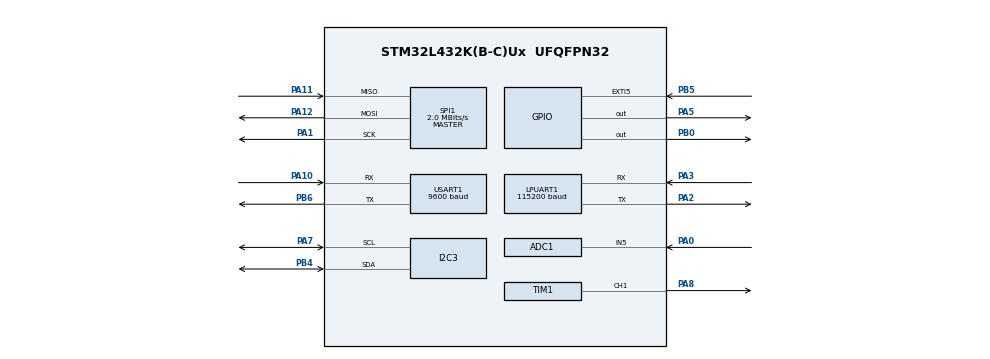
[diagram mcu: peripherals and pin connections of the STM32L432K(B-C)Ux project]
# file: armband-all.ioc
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ADC1.Channel-1\#ChannelRegularConversion=ADC_CHANNEL_5
ADC1.NbrOfConversionFlag=1
ADC1.OffsetNumber-1\#ChannelRegularConversion=ADC_OFFSET_NONE
ADC1.Rank-1\#ChannelRegularConversion=1
ADC1.SamplingTime-1\#ChannelRegularConversion=ADC_SAMPLETIME_2CYCLES_5
ADC1.master=1
LPUART1.BaudRate=115200
LPUART1.WordLength=UART_WORDLENGTH_8B
Mcu.Family=STM32L4
Mcu.Name=STM32L432K(B-C)Ux
Mcu.Package=UFQFPN32
NVIC.EXTI9_5_IRQn=true\:0\:0\:false\:false\:true\:true\:true\:true
NVIC.PriorityGroup=NVIC_PRIORITYGROUP_4
NVIC.TIM6_DAC_IRQn=true\:0\:0\:false\:false\:true\:true\:true\:true
NVIC.TIM7_IRQn=true\:0\:0\:false\:false\:true\:true\:true\:true
PA0.Signal=ADCx_IN5
PA1.Mode=Full_Duplex_Master
PA1.Signal=SPI1_SCK
PA10.Mode=Asynchronous
PA10.Signal=USART1_RX
PA11.Mode=Full_Duplex_Master
PA11.Signal=SPI1_MISO
PA12.Mode=Full_Duplex_Master
PA12.Signal=SPI1_MOSI
PA2.Mode=Asynchronous
PA2.Signal=LPUART1_TX
PA3.Mode=Asynchronous
PA3.Signal=LPUART1_RX
PA5.Signal=GPIO_Output
PA7.Mode=I2C
PA7.Signal=I2C3_SCL
PA8.Signal=S_TIM1_CH1
PB0.PinState=GPIO_PIN_SET
PB0.Signal=GPIO_Output
PB4\ (NJTRST).Mode=I2C
PB4\ (NJTRST).Signal=I2C3_SDA
PB5.Signal=GPXTI5
PB6.Mode=Asynchronous
PB6.Signal=USART1_TX
ProjectManager.HeapSize=0x200
ProjectManager.StackSize=0x400
ProjectManager.TargetToolchain=STM32CubeIDE
RCC.ADCFreq_Value=32000000
RCC.HSE_VALUE=8000000
RCC.HSI48_VALUE=48000000
RCC.HSI_VALUE=16000000
RCC.LSE_VALUE=32768
RCC.MSI_VALUE=4000000
RCC.PLLSAI1N=16
RCC.USBFreq_Value=32000000
RCC.VCOOutputFreq_Value=32000000
SH.ADCx_IN5.0=ADC1_IN5,IN5-Single-Ended
SH.S_TIM1_CH1.0=TIM1_CH1,PWM Generation1 CH1
SPI1.CalculateBaudRate=2.0 MBits/s
SPI1.DataSize=SPI_DATASIZE_8BIT
SPI1.Direction=SPI_DIRECTION_2LINES
SPI1.Mode=SPI_MODE_MASTER
SPI1.VirtualType=VM_MASTER
TIM1.Channel-PWM\ Generation1\ CH1=TIM_CHANNEL_1
TIM6.Period=499
TIM6.Prescaler=399
TIM7.Period=49999
TIM7.Prescaler=399
USART1.BaudRate=9600
USART1.VirtualMode-Asynchronous=VM_ASYNC
VP_TIM6_VS_ClockSourceINT.Mode=Enable_Timer
VP_TIM7_VS_ClockSourceINT.Mode=Enable_Timer
board=custom

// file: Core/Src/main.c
/* USER CODE BEGIN Header */
/**
  ******************************************************************************
  * @file           : main.c
  * @brief          : Main program body
  ******************************************************************************
  * @attention
  *
  * Copyright (c) 2024 STMicroelectronics.
  * All rights reserved.
  *
  * This software is licensed under terms that can be found in the LICENSE file
  * in the root directory of this software component.
  * If no LICENSE file comes with this software, it is provided AS-IS.
  *
  ******************************************************************************
  */

/**	TODO:
 * 	 - only poll gps because it is a time hog
 * 	 - get LoRa running
 */

/* USER CODE END Header */
#include "main.h"

/* USER CODE BEGIN Includes */
#include "gps.h"
#include "lora_sx1276.h"
#include "IMU.h"
#include "PulseSensor.h"
#include "stdio.h"
#include "speed.h"
#include "step_inc/StepCountingAlgo.h"
#include "vec.h"

/* USER CODE END Includes */

/* USER CODE BEGIN PD */
#define ACC_BUF_LEN 1000
#define SPD_BUF_LEN 1000

#define STEP_FREQ 20	// Hz
#define STEP_PERIOD 50	// ms
/* USER CODE END PD */

ADC_HandleTypeDef hadc1;

I2C_HandleTypeDef hi2c3;

UART_HandleTypeDef hlpuart1;
UART_HandleTypeDef huart1;

SPI_HandleTypeDef hspi1;

TIM_HandleTypeDef htim1;
TIM_HandleTypeDef htim6;
TIM_HandleTypeDef htim7;

/* USER CODE BEGIN PV */

uint8_t LoRaRecieve = 0;
lora_sx1276 lora;

//flags
static char gps_flag = 0;
static char vibrate_flag = 0;
static time_t prog_time = 0;

// vars --> most changed to non-static
//static int bpm = 0;
//static float vel;
//static float dist;
//static int steps;
//static double x, y, z;
//static vec_t acc_vec[ACC_BUF_LEN];
//static int acc_vec_idx = 0;
//static vec_t spd_vec[SPD_BUF_LEN];
//static int spd_vec_idx = 0;
static lora_data_t lora_data;

/* USER CODE END PV */

void SystemClock_Config(void);
static void MX_GPIO_Init(void);
static void MX_TIM6_Init(void);
static void MX_USART1_UART_Init(void);
static void MX_ADC1_Init(void);
static void MX_LPUART1_UART_Init(void);
static void MX_SPI1_Init(void);
static void MX_TIM1_Init(void);
static void MX_TIM7_Init(void);
static void MX_I2C3_Init(void);
/* USER CODE BEGIN PFP */
void HAL_TIM_PeriodElapsedCallback(TIM_HandleTypeDef* htim);
void IMUcallback(void);
static inline void vibratorCallback(void);
static inline void loraCallback(void);
//void transmit_data_lora(void);
/* USER CODE END PFP */

/* USER CODE BEGIN 0 */

/* lora initiation helper, executes up to 100 times */
uint8_t lora_infINIT(int init_ctr) {
	if (init_ctr < 100) {
		uint8_t res = lora_init(&lora, &hspi1, GPIOB, GPIO_PIN_0, LORA_BASE_FREQUENCY_US+FREQ_OFFSET);
		if (res != LORA_OK) {
			// Initialization failed
			// retry lol
			return lora_infINIT(init_ctr + 1);
	  	} else {
	  		return LORA_OK;
	  	}
	} else {
		return LORA_ERROR;
	}
}

/* called @ 200Hz, updates step count based on IMU data */
inline void IMUcallback(void) {
	/* archaic step count code from the times of masons own library */
//	vec_t acc_vec, gravity_vec;
//	lin_acc_vec(&hi2c3, &acc_vec.x);
//	grav_vec(&hi2c3, &gravity_vec.x);
//	input_step_data(gravity_vec, acc_vec);

	/* real good super awesome step count code! */
	vec_raw_t acc_vec;
	lin_acc_vec_raw(&hi2c3, &acc_vec.x);
	processSample(prog_time, acc_vec.x, acc_vec.y, acc_vec.z);
	prog_time += STEP_PERIOD;
//	num_steps = getSteps();
//	printf("steps: %i\n\r", num_steps);
}
          //IMU_infINIT(&hi2c3);
void IMU_infINIT(I2C_HandleTypeDef *hi2c) {
	int num_tries = 0;
	while (init_IMU(hi2c)) {
		++num_tries;
		if (num_tries > 100);
	}
}

/* called every 5 seconds, checks lora recieve interrupt flag */
inline void vibratorCallback(void) {
	if (vibrate_flag) { //
		/* turn on vibrator */
		/// possibly add more to create a sequence
	}

}

/* loraCallback(): called after gps is read (5s period) to send relevant data */
inline void loraCallback(void) {

	/* NOTE */
	// possibly send 5 seconds late
	// before next* gps poll in order
	// to send at a precise times
	// --> 5 second delay should not have large effect

	lora_data.speed = get_velocity();	// speed from gps file
	lora_data.distance = get_distance();	// distance from gps file
	lora_data.heart_rate = get_BPM();	// bpm from pulse sensor file
	lora_data.steps = getSteps();	// step count from steps file
	lora_send_packet(&lora, (uint8_t*)&lora_data, sizeof(lora_data));
	lora_mode_receive_single(&lora);

	/* debug code for use without lora */
	printf("sent to Base Station:\n\r");
	printf("\t\tspeed: \t%f m/s\n\r", lora_data.speed);
	printf("\tdistance: \t%f meters\n\r", lora_data.distance);
	printf("\t\tpulse: \t%i bpm\n\r", lora_data.heart_rate);
	printf("\t\tsteps: \t%i steps\n\n\r", lora_data.steps);
}

/* timer checker */
void HAL_TIM_PeriodElapsedCallback(TIM_HandleTypeDef* htim){
	if (htim == &htim6) {
		IMUcallback();
		updatePulseSensor();
	} else if (htim == &htim7) {
		/* timer controlling GPS and LoRa data */
		gps_flag = 1;
		HAL_NVIC_EnableIRQ(USART1_IRQn);
		//vibratorCallback();
	}
}

void HAL_UART_RxCpltCallback(UART_HandleTypeDef *huart)
{

 	//printf("IN CALLBACK\n\r");
 	UpdateGps_IT();
	//HAL_UART_Receive_IT(&huart1, &rx_data, 1);

}

/* USER CODE END 0 */

int main(void)
{

  /* MCU Configuration--------------------------------------------------------*/

  /* Reset of all peripherals, Initializes the Flash interface and the Systick. */
  HAL_Init();

  /* Configure the system clock */
  SystemClock_Config();

  /* Initialize all configured peripherals */
  MX_GPIO_Init();
  MX_TIM6_Init();
  MX_USART1_UART_Init();
  MX_ADC1_Init();
  MX_LPUART1_UART_Init();
  MX_SPI1_Init();
  MX_TIM1_Init();
  MX_TIM7_Init();
  MX_I2C3_Init();
  /* USER CODE BEGIN 2 */
  initPulseSensor(&hadc1);
  IMU_infINIT(&hi2c3);
  uint8_t res = lora_infINIT(0);
  if (res != LORA_OK) {
	  // restart whole system idk
  }
  initAlgo();

  //GPS INIT, just calls HAL_UART_Receive_IT(&huart1, &rx_data, 1) to start
    //GPS_Init();

  // start your engines!
  HAL_TIM_PWM_Start(&htim1, TIM_CHANNEL_1);
  HAL_TIM_Base_Start_IT(&htim6);
  HAL_TIM_Base_Start_IT(&htim7);

  /* USER CODE END 2 */

  /* Infinite loop */
  /* USER CODE BEGIN WHILE */
  uint8_t buzz = 0;
  // Wait at least 5 seconds before clearing buzzer
  uint8_t wait = 1;
  lora_enable_interrupt_rx_done(&lora);
  char buffer[128];
  lora_mode_receive_single(&lora);

  while (1)
  {

	  /* GPS Polling */
	  if (gps_flag) {
		  updateGPS();
		  gps_flag = 0;
		  loraCallback(); // transmit lora data after GPS bottleneck finishes
      if (buzz && !wait) {
		  	TIM1->CCR1 = 0;
        buzz = 0;
        wait = 1;
		  } else if (buzz) {
			  wait = 0;
		  }
    }

    /* poll lora receipt */
    if(LoRaRecieve == 1){
	  		  //Get data
	  //		  	  lora_mode_receive_continuous(&lora);

//	  		  	  lora_receive_packet_blocking(&lora, buffer, sizeof(buffer), 10000, &res);
      if (!lora_is_packet_available(&lora)) {
        LoRaRecieve = 0;
        buzz = 1;
        lora_mode_receive_single(&lora);
      }

	  }

    /* poll buzzer */
	  if (buzz) {
		  TIM1->CCR1 = 65534;
	  }

    /* USER CODE END WHILE */

  }
}

void SystemClock_Config(void)
{
  RCC_OscInitTypeDef RCC_OscInitStruct = {0};
  RCC_ClkInitTypeDef RCC_ClkInitStruct = {0};

  /** Configure the main internal regulator output voltage
  */
  if (HAL_PWREx_ControlVoltageScaling(PWR_REGULATOR_VOLTAGE_SCALE1) != HAL_OK)
  {
    Error_Handler();
  }

  /** Initializes the RCC Oscillators according to the specified parameters
  * in the RCC_OscInitTypeDef structure.
  */
  RCC_OscInitStruct.OscillatorType = RCC_OSCILLATORTYPE_MSI;
  RCC_OscInitStruct.MSIState = RCC_MSI_ON;
  RCC_OscInitStruct.MSICalibrationValue = 0;
  RCC_OscInitStruct.MSIClockRange = RCC_MSIRANGE_6;
  RCC_OscInitStruct.PLL.PLLState = RCC_PLL_NONE;
  if (HAL_RCC_OscConfig(&RCC_OscInitStruct) != HAL_OK)
  {
    Error_Handler();
  }

  /** Initializes the CPU, AHB and APB buses clocks
  */
  RCC_ClkInitStruct.ClockType = RCC_CLOCKTYPE_HCLK|RCC_CLOCKTYPE_SYSCLK
                              |RCC_CLOCKTYPE_PCLK1|RCC_CLOCKTYPE_PCLK2;
  RCC_ClkInitStruct.SYSCLKSource = RCC_SYSCLKSOURCE_MSI;
  RCC_ClkInitStruct.AHBCLKDivider = RCC_SYSCLK_DIV1;
  RCC_ClkInitStruct.APB1CLKDivider = RCC_HCLK_DIV1;
  RCC_ClkInitStruct.APB2CLKDivider = RCC_HCLK_DIV1;

  if (HAL_RCC_ClockConfig(&RCC_ClkInitStruct, FLASH_LATENCY_0) != HAL_OK)
  {
    Error_Handler();
  }
}

static void MX_ADC1_Init(void)
{

  ADC_ChannelConfTypeDef sConfig = {0};

  /** Common config
  */
  hadc1.Instance = ADC1;
  hadc1.Init.ClockPrescaler = ADC_CLOCK_ASYNC_DIV1;
  hadc1.Init.Resolution = ADC_RESOLUTION_12B;
  hadc1.Init.DataAlign = ADC_DATAALIGN_RIGHT;
  hadc1.Init.ScanConvMode = ADC_SCAN_DISABLE;
  hadc1.Init.EOCSelection = ADC_EOC_SINGLE_CONV;
  hadc1.Init.LowPowerAutoWait = DISABLE;
  hadc1.Init.ContinuousConvMode = DISABLE;
  hadc1.Init.NbrOfConversion = 1;
  hadc1.Init.DiscontinuousConvMode = DISABLE;
  hadc1.Init.ExternalTrigConv = ADC_SOFTWARE_START;
  hadc1.Init.ExternalTrigConvEdge = ADC_EXTERNALTRIGCONVEDGE_NONE;
  hadc1.Init.DMAContinuousRequests = DISABLE;
  hadc1.Init.Overrun = ADC_OVR_DATA_PRESERVED;
  hadc1.Init.OversamplingMode = DISABLE;
  if (HAL_ADC_Init(&hadc1) != HAL_OK)
  {
    Error_Handler();
  }

  /** Configure Regular Channel
  */
  sConfig.Channel = ADC_CHANNEL_5;
  sConfig.Rank = ADC_REGULAR_RANK_1;
  sConfig.SamplingTime = ADC_SAMPLETIME_2CYCLES_5;
  sConfig.SingleDiff = ADC_SINGLE_ENDED;
  sConfig.OffsetNumber = ADC_OFFSET_NONE;
  sConfig.Offset = 0;
  if (HAL_ADC_ConfigChannel(&hadc1, &sConfig) != HAL_OK)
  {
    Error_Handler();
  }

}

static void MX_I2C3_Init(void)
{

  hi2c3.Instance = I2C3;
  hi2c3.Init.Timing = 0x00000E14;
  hi2c3.Init.OwnAddress1 = 0;
  hi2c3.Init.AddressingMode = I2C_ADDRESSINGMODE_7BIT;
  hi2c3.Init.DualAddressMode = I2C_DUALADDRESS_DISABLE;
  hi2c3.Init.OwnAddress2 = 0;
  hi2c3.Init.OwnAddress2Masks = I2C_OA2_NOMASK;
  hi2c3.Init.GeneralCallMode = I2C_GENERALCALL_DISABLE;
  hi2c3.Init.NoStretchMode = I2C_NOSTRETCH_DISABLE;
  if (HAL_I2C_Init(&hi2c3) != HAL_OK)
  {
    Error_Handler();
  }

  /** Configure Analogue filter
  */
  if (HAL_I2CEx_ConfigAnalogFilter(&hi2c3, I2C_ANALOGFILTER_ENABLE) != HAL_OK)
  {
    Error_Handler();
  }

  /** Configure Digital filter
  */
  if (HAL_I2CEx_ConfigDigitalFilter(&hi2c3, 0) != HAL_OK)
  {
    Error_Handler();
  }

}

static void MX_LPUART1_UART_Init(void)
{

  hlpuart1.Instance = LPUART1;
  hlpuart1.Init.BaudRate = 115200;
  hlpuart1.Init.WordLength = UART_WORDLENGTH_8B;
  hlpuart1.Init.StopBits = UART_STOPBITS_1;
  hlpuart1.Init.Parity = UART_PARITY_NONE;
  hlpuart1.Init.Mode = UART_MODE_TX_RX;
  hlpuart1.Init.HwFlowCtl = UART_HWCONTROL_NONE;
  hlpuart1.Init.OneBitSampling = UART_ONE_BIT_SAMPLE_DISABLE;
  hlpuart1.AdvancedInit.AdvFeatureInit = UART_ADVFEATURE_NO_INIT;
  if (HAL_UART_Init(&hlpuart1) != HAL_OK)
  {
    Error_Handler();
  }

}

static void MX_USART1_UART_Init(void)
{

  huart1.Instance = USART1;
  huart1.Init.BaudRate = 9600;
  huart1.Init.WordLength = UART_WORDLENGTH_8B;
  huart1.Init.StopBits = UART_STOPBITS_1;
  huart1.Init.Parity = UART_PARITY_NONE;
  huart1.Init.Mode = UART_MODE_TX_RX;
  huart1.Init.HwFlowCtl = UART_HWCONTROL_NONE;
  huart1.Init.OverSampling = UART_OVERSAMPLING_16;
  huart1.Init.OneBitSampling = UART_ONE_BIT_SAMPLE_DISABLE;
  huart1.AdvancedInit.AdvFeatureInit = UART_ADVFEATURE_NO_INIT;
  if (HAL_UART_Init(&huart1) != HAL_OK)
  {
    Error_Handler();
  }

}

static void MX_SPI1_Init(void)
{

  /* SPI1 parameter configuration*/
  hspi1.Instance = SPI1;
  hspi1.Init.Mode = SPI_MODE_MASTER;
  hspi1.Init.Direction = SPI_DIRECTION_2LINES;
  hspi1.Init.DataSize = SPI_DATASIZE_8BIT;
  hspi1.Init.CLKPolarity = SPI_POLARITY_LOW;
  hspi1.Init.CLKPhase = SPI_PHASE_1EDGE;
  hspi1.Init.NSS = SPI_NSS_SOFT;
  hspi1.Init.BaudRatePrescaler = SPI_BAUDRATEPRESCALER_2;
  hspi1.Init.FirstBit = SPI_FIRSTBIT_MSB;
  hspi1.Init.TIMode = SPI_TIMODE_DISABLE;
  hspi1.Init.CRCCalculation = SPI_CRCCALCULATION_DISABLE;
  hspi1.Init.CRCPolynomial = 7;
  hspi1.Init.CRCLength = SPI_CRC_LENGTH_DATASIZE;
  hspi1.Init.NSSPMode = SPI_NSS_PULSE_ENABLE;
  if (HAL_SPI_Init(&hspi1) != HAL_OK)
  {
    Error_Handler();
  }

}

static void MX_TIM1_Init(void)
{

  TIM_MasterConfigTypeDef sMasterConfig = {0};
  TIM_OC_InitTypeDef sConfigOC = {0};
  TIM_BreakDeadTimeConfigTypeDef sBreakDeadTimeConfig = {0};

  htim1.Instance = TIM1;
  htim1.Init.Prescaler = 0;
  htim1.Init.CounterMode = TIM_COUNTERMODE_UP;
  htim1.Init.Period = 65535;
  htim1.Init.ClockDivision = TIM_CLOCKDIVISION_DIV1;
  htim1.Init.RepetitionCounter = 0;
  htim1.Init.AutoReloadPreload = TIM_AUTORELOAD_PRELOAD_DISABLE;
  if (HAL_TIM_PWM_Init(&htim1) != HAL_OK)
  {
    Error_Handler();
  }
  sMasterConfig.MasterOutputTrigger = TIM_TRGO_RESET;
  sMasterConfig.MasterOutputTrigger2 = TIM_TRGO2_RESET;
  sMasterConfig.MasterSlaveMode = TIM_MASTERSLAVEMODE_DISABLE;
  if (HAL_TIMEx_MasterConfigSynchronization(&htim1, &sMasterConfig) != HAL_OK)
  {
    Error_Handler();
  }
  sConfigOC.OCMode = TIM_OCMODE_PWM1;
  sConfigOC.Pulse = 0;
  sConfigOC.OCPolarity = TIM_OCPOLARITY_HIGH;
  sConfigOC.OCNPolarity = TIM_OCNPOLARITY_HIGH;
  sConfigOC.OCFastMode = TIM_OCFAST_DISABLE;
  sConfigOC.OCIdleState = TIM_OCIDLESTATE_RESET;
  sConfigOC.OCNIdleState = TIM_OCNIDLESTATE_RESET;
  if (HAL_TIM_PWM_ConfigChannel(&htim1, &sConfigOC, TIM_CHANNEL_1) != HAL_OK)
  {
    Error_Handler();
  }
  sBreakDeadTimeConfig.OffStateRunMode = TIM_OSSR_DISABLE;
  sBreakDeadTimeConfig.OffStateIDLEMode = TIM_OSSI_DISABLE;
  sBreakDeadTimeConfig.LockLevel = TIM_LOCKLEVEL_OFF;
  sBreakDeadTimeConfig.DeadTime = 0;
  sBreakDeadTimeConfig.BreakState = TIM_BREAK_DISABLE;
  sBreakDeadTimeConfig.BreakPolarity = TIM_BREAKPOLARITY_HIGH;
  sBreakDeadTimeConfig.BreakFilter = 0;
  sBreakDeadTimeConfig.Break2State = TIM_BREAK2_DISABLE;
  sBreakDeadTimeConfig.Break2Polarity = TIM_BREAK2POLARITY_HIGH;
  sBreakDeadTimeConfig.Break2Filter = 0;
  sBreakDeadTimeConfig.AutomaticOutput = TIM_AUTOMATICOUTPUT_DISABLE;
  if (HAL_TIMEx_ConfigBreakDeadTime(&htim1, &sBreakDeadTimeConfig) != HAL_OK)
  {
    Error_Handler();
  }
  HAL_TIM_MspPostInit(&htim1);

}

static void MX_TIM6_Init(void)
{

  TIM_MasterConfigTypeDef sMasterConfig = {0};

  htim6.Instance = TIM6;
  htim6.Init.Prescaler = 399;
  htim6.Init.CounterMode = TIM_COUNTERMODE_UP;
  htim6.Init.Period = 499;
  htim6.Init.AutoReloadPreload = TIM_AUTORELOAD_PRELOAD_DISABLE;
  if (HAL_TIM_Base_Init(&htim6) != HAL_OK)
  {
    Error_Handler();
  }
  sMasterConfig.MasterOutputTrigger = TIM_TRGO_RESET;
  sMasterConfig.MasterSlaveMode = TIM_MASTERSLAVEMODE_DISABLE;
  if (HAL_TIMEx_MasterConfigSynchronization(&htim6, &sMasterConfig) != HAL_OK)
  {
    Error_Handler();
  }

}

static void MX_TIM7_Init(void)
{

  TIM_MasterConfigTypeDef sMasterConfig = {0};

  htim7.Instance = TIM7;
  htim7.Init.Prescaler = 399;
  htim7.Init.CounterMode = TIM_COUNTERMODE_UP;
  htim7.Init.Period = 49999;
  htim7.Init.AutoReloadPreload = TIM_AUTORELOAD_PRELOAD_DISABLE;
  if (HAL_TIM_Base_Init(&htim7) != HAL_OK)
  {
    Error_Handler();
  }
  sMasterConfig.MasterOutputTrigger = TIM_TRGO_RESET;
  sMasterConfig.MasterSlaveMode = TIM_MASTERSLAVEMODE_DISABLE;
  if (HAL_TIMEx_MasterConfigSynchronization(&htim7, &sMasterConfig) != HAL_OK)
  {
    Error_Handler();
  }

}

static void MX_GPIO_Init(void)
{
  GPIO_InitTypeDef GPIO_InitStruct = {0};

  /* GPIO Ports Clock Enable */
  __HAL_RCC_GPIOA_CLK_ENABLE();
  __HAL_RCC_GPIOB_CLK_ENABLE();

  /*Configure GPIO pin Output Level */
  HAL_GPIO_WritePin(GPIOA, GPIO_PIN_5, GPIO_PIN_RESET);

  /*Configure GPIO pin Output Level */
  HAL_GPIO_WritePin(GPIOB, GPIO_PIN_0, GPIO_PIN_SET);

  /*Configure GPIO pin : PA5 */
  GPIO_InitStruct.Pin = GPIO_PIN_5;
  GPIO_InitStruct.Mode = GPIO_MODE_OUTPUT_PP;
  GPIO_InitStruct.Pull = GPIO_NOPULL;
  GPIO_InitStruct.Speed = GPIO_SPEED_FREQ_LOW;
  HAL_GPIO_Init(GPIOA, &GPIO_InitStruct);

  /*Configure GPIO pin : PB0 */
  GPIO_InitStruct.Pin = GPIO_PIN_0;
  GPIO_InitStruct.Mode = GPIO_MODE_OUTPUT_PP;
  GPIO_InitStruct.Pull = GPIO_NOPULL;
  GPIO_InitStruct.Speed = GPIO_SPEED_FREQ_LOW;
  HAL_GPIO_Init(GPIOB, &GPIO_InitStruct);

  /*Configure GPIO pin : PB5 */
  GPIO_InitStruct.Pin = GPIO_PIN_5;
  GPIO_InitStruct.Mode = GPIO_MODE_IT_RISING;
  GPIO_InitStruct.Pull = GPIO_NOPULL;
  HAL_GPIO_Init(GPIOB, &GPIO_InitStruct);

  /* EXTI interrupt init*/
  HAL_NVIC_SetPriority(EXTI9_5_IRQn, 0, 0);
  HAL_NVIC_EnableIRQ(EXTI9_5_IRQn);

}

/* USER CODE BEGIN 4 */
#ifdef __GNUC__
#define PUTCHAR_PROTOTYPE int __io_putchar(int ch)
#else
  #define PUTCHAR_PROTOTYPE int fputc(int ch, FILE *f)
#endif /* __GNUC__ */
PUTCHAR_PROTOTYPE
{
  HAL_UART_Transmit(&hlpuart1, (uint8_t *)&ch, 1, 0xFFFF);
  return ch;
}
/* USER CODE END 4 */

void Error_Handler(void)
{
  __disable_irq();
  while (1)
  {
  }
}
